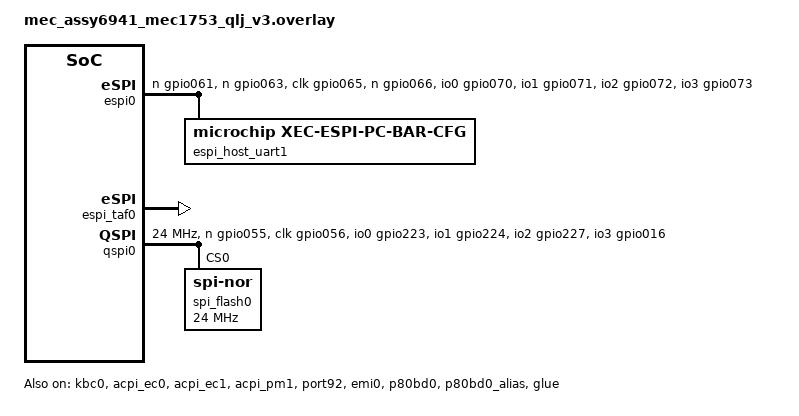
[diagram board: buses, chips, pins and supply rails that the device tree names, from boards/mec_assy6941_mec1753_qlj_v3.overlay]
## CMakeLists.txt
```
# SPDX-License-Identifier: Apache-2.0

cmake_minimum_required(VERSION 3.13.1)
find_package(Zephyr REQUIRED HINTS $ENV{ZEPHYR_BASE})
project(espi)

FILE(GLOB app_sources src/*.c)
target_sources(app PRIVATE ${app_sources})

#zephyr_compile_options(-Werror)
```

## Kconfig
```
# Private config options for eSPI sample app

# Copyright (c) 2019 Intel Corporation
# SPDX-License-Identifier: Apache-2.0

mainmenu "Enhanced Serial Peripheral Interface application"

config ESPI_DEV
	string "Name of the eSPI device"
	default "ESPI_0"
	help
	  Name of the eSPI device used for send an receive.

config ESPI_SAF_DEV
	string "Name of the eSPI SAF device"
	default "ESPI_SAF_0"
	help
	  Name of the eSPI SAF device used for slave attached flash access.

config ESPI_VIRTUAL_WIRE_TIMEOUT
	int "Timeout for virtual wires"
	default 5000
	help
	  Timeout for virtual wires

config ESPI_GPIO_DEV_NEEDED
	bool "GPIO required for minimum eSPI handshake"

if ESPI_GPIO_DEV_NEEDED

config ESPI_GPIO_DEV0
	string "Name of the GPIO port 0"
	default "GPIO_0"
	help
	  Name of the port used in minimal handshake

config ESPI_GPIO_DEV1
	string "Name of the GPIO port 1"
	default "GPIO_1"
	help
	  Name of the port used in minimal handshake

config ESPI_INIT_PIN
	int "eSPI master enable pin"
	default 0
	help
	  Pin number of eSPI master init pin

config PWRGD_PIN
	int "Indication espi master power is up"
	default 0
	help
	  Pin number of eSPI master power indication

endif # ESPI_GPIO_DEV_NEEDED

source "Kconfig.zephyr"
```

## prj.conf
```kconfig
CONFIG_ESPI=y
CONFIG_STDOUT_CONSOLE=y
CONFIG_UART_CONSOLE=y
#CONFIG_RTT_CONSOLE=y
#CONFIG_USE_SEGGER_RTT=y
CONFIG_PRINTK=y

# MCHP
# Enable Segger module (zephyr/modules/segger)
# can't set directly CONFIG_ZEPHYR_SEGGER_MODULE=y
# can't set directly CONFIG_HAS_SEGGER_RTT=y

# Enable logging and use Segger RTT as the backend
CONFIG_LOG=y
CONFIG_LOG_BACKEND_UART=n
#CONFIG_LOG_BACKEND_RTT=y
#CONFIG_LOG_BACKEND_RTT_MODE_BLOCK=y
#CONFIG_LOG_BACKEND_RTT_MESSAGE_SIZE=256
# USE_SEGGER_RTT

CONFIG_DEBUG=y
#CONFIG_TRACING=y
#CONFIG_TRACING_ASYNC=y
#CONFIG_SEGGER_SYSTEMVIEW=y
# the above selects USE_SEGGER_RTT
```

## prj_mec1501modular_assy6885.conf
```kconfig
# eSPI + mec1501modular_assy6885
CONFIG_ESPI=y
CONFIG_ESPI_SAF=y
CONFIG_ESPI_DEV="ESPI_0"
CONFIG_ESPI_DEV="ESPI_SAF_0"
CONFIG_ESPI_GPIO_DEV_NEEDED=y
CONFIG_ESPI_GPIO_DEV0="GPIO000_036"
CONFIG_ESPI_GPIO_DEV1="GPIO040_076"
CONFIG_SPI=y
CONFIG_SPI_XEC_QMSPI=y

# This is MCHP_GPIO_012
CONFIG_PWRGD_PIN=10

# This is MCHP_GPIO_0054
CONFIG_ESPI_INIT_PIN=12

CONFIG_LOG=y
CONFIG_LOG_BUFFER_SIZE=4096
CONFIG_LOG_PROCESS_THREAD_SLEEP_MS=100
# Disable only for this board to check notifications
CONFIG_ESPI_AUTOMATIC_WARNING_ACKNOWLEDGE=n
# Sample code doesn't handle ACPI host communication
CONFIG_ESPI_PERIPHERAL_HOST_IO=n
```

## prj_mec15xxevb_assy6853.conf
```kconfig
# eSPI + mec15xxevb_assy6853
CONFIG_ESPI=y
CONFIG_ESPI_SAF=y
CONFIG_ESPI_DEV="ESPI_0"
CONFIG_ESPI_SAF_DEV="ESPI_SAF_0"
CONFIG_ESPI_GPIO_DEV_NEEDED=y
CONFIG_ESPI_GPIO_DEV0="GPIO000_036"
CONFIG_ESPI_GPIO_DEV1="GPIO040_076"
CONFIG_SPI=y
CONFIG_SPI_XEC_QMSPI=y

# This is MCHP_GPIO_012
CONFIG_PWRGD_PIN=10

# This is MCHP_GPIO_0054
CONFIG_ESPI_INIT_PIN=12

CONFIG_LOG=y
```

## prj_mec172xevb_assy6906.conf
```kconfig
# eSPI + mec172xevb_assy6906
CONFIG_ESPI=y
CONFIG_LOG=y
CONFIG_LOG_BUFFER_SIZE=4096
CONFIG_LOG_PROCESS_THREAD_SLEEP_MS=100
# Disable only for this board to check notifications
CONFIG_ESPI_AUTOMATIC_WARNING_ACKNOWLEDGE=n
# Sample code doesn't handle ACPI host communication
CONFIG_ESPI_PERIPHERAL_HOST_IO=n
# Test SAF flash portal read/erase/write on EVB
CONFIG_ESPI_SAF_V2=y
CONFIG_SPI=y
CONFIG_SPI_XEC_QMSPI_LDMA=y
```

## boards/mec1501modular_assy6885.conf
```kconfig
CONFIG_LOG=y
CONFIG_LOG_BUFFER_SIZE=4096
CONFIG_LOG_PROCESS_THREAD_SLEEP_MS=100
# Disable only for this board to check notifications
CONFIG_ESPI_AUTOMATIC_WARNING_ACKNOWLEDGE=n
# Sample code doesn't handle ACPI host communication
CONFIG_ESPI_PERIPHERAL_HOST_IO=n
# This only makes sense for system using this board
CONFIG_ESPI_OOB_CHANNEL_RX_ASYNC=y
CONFIG_SPI=y
CONFIG_FLASH=y
CONFIG_FLASH_JESD216_API=y
```

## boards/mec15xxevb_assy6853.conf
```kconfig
CONFIG_LOG=y
CONFIG_LOG_BUFFER_SIZE=4096
CONFIG_LOG_PROCESS_THREAD_SLEEP_MS=100
# Disable only for this board to check notifications
CONFIG_ESPI_AUTOMATIC_WARNING_ACKNOWLEDGE=n
# Sample code doesn't handle ACPI host communication
CONFIG_ESPI_PERIPHERAL_HOST_IO=n
# Test TAF flash portal read/erase/write on EVB
CONFIG_ESPI_TAF=y
CONFIG_SPI=y
CONFIG_FLASH=y
CONFIG_FLASH_JESD216_API=y
```

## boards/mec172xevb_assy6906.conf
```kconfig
# eSPI + mec172xevb_assy6906
CONFIG_ESPI=y
CONFIG_LOG=y
CONFIG_LOG_BUFFER_SIZE=4096
CONFIG_LOG_PROCESS_THREAD_SLEEP_MS=100
# Disable only for this board to check notifications
CONFIG_ESPI_AUTOMATIC_WARNING_ACKNOWLEDGE=n
# Sample code doesn't handle ACPI host communication
CONFIG_ESPI_PERIPHERAL_HOST_IO=n
# Test TAF flash portal read/erase/write on EVB
CONFIG_ESPI_TAF=y
CONFIG_SPI=y
CONFIG_FLASH=y
CONFIG_FLASH_JESD216_API=y
```

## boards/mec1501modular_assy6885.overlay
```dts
/*
 * Copyright (c) 2020 Intel Corporation
 *
 * SPDX-License-Identifier: Apache-2.0
 */

/ {
	board_power: resources {
		compatible = "intel-rvp,board-power";
		/* MCHP_GPIO_012 */
		pwrg-gpios = <MCHP_GPIO_DECODE_012 GPIO_ACTIVE_HIGH>;
		/* MCHP_GPIO_0054 */
		rsm-gpios = <MCHP_GPIO_DECODE_054 GPIO_ACTIVE_HIGH>;
	};
};

&spi0 {
	status = "okay";
	port-sel = <0>;
	chip-select = <0>;
	lines = <4>;
	pinctrl-0 = <&shd_cs0_n_gpio055
		     &shd_clk_gpio056
		     &shd_io0_gpio223
		     &shd_io1_gpio224
		     &shd_io2_gpio227
		     &shd_io3_gpio016>;
	pinctrl-names = "default";

	spi_flash0: spi_flash@0 {
		compatible = "jedec,spi-nor";
		reg = <0>;
		spi-max-frequency = <DT_FREQ_M(24)>;
		jedec-id = [ef 40 18];
		size = <DT_SIZE_M(16)>;
		page-size = <256>;
	};
};
```

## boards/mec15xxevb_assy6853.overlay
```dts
/*
 * Copyright (c) 2020 Intel Corporation
 *
 * SPDX-License-Identifier: Apache-2.0
 */

/ {
	board_power: resources {
		compatible = "intel-rvp,board-power";
		/* MCHP_GPIO_012 */
		pwrg-gpios = <MCHP_GPIO_DECODE_012 GPIO_ACTIVE_HIGH>;
		/* MCHP_GPIO_0054 */
		rsm-gpios = <MCHP_GPIO_DECODE_054 GPIO_ACTIVE_HIGH>;
	};
};

&espi_saf0 {
	status = "okay";
};

&spi0 {
	status = "okay";
	port-sel = <0>;
	chip-select = <0>;
	lines = <4>;

	spi_flash0: spi_flash@0 {
		compatible = "jedec,spi-nor";
		reg = <0>;
		spi-max-frequency = <DT_FREQ_M(24)>;
		jedec-id = [ef 40 18];
		size = <DT_SIZE_M(16)>;
		page-size = <256>;
	};
};
```

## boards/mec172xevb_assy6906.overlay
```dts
/*
 * Copyright (c) 2020 Intel Corporation
 *
 * SPDX-License-Identifier: Apache-2.0
 */

/ {
	aliases {
		spi0 = &qspi0;
	};

	board_power: resources {
		compatible = "intel-rvp,board-power";
		/* MCHP_GPIO_012 */
		pwrg-gpios = <&gpio_000_036 10 GPIO_ACTIVE_HIGH>;
		/* MCHP_GPIO_0054 */
		rsm-gpios = <&gpio_040_076 12 GPIO_ACTIVE_HIGH>;
	};
};

&espi_saf0 {
	status = "okay";
};

/* Enable Target to Controller Virtual Wires GPIO 0 - 3 */
&vw_t2c_gpio_0 {
	status = "okay";
	reset-state = "1";
	reset-source = "ESPI_RESET";
};

&vw_t2c_gpio_1 {
	status = "okay";
	reset-state = "1";
	reset-source = "ESPI_RESET";
};

&vw_t2c_gpio_2 {
	status = "okay";
	reset-state = "1";
	reset-source = "ESPI_RESET";
};

&vw_t2c_gpio_3 {
	status = "okay";
	reset-state = "1";
	reset-source = "ESPI_RESET";
};

&qspi0 {
	status = "okay";
	clock-frequency = <24000000>;

	spi_flash0: spi_flash@0 {
		compatible = "jedec,spi-nor";
		reg = <0>;
		spi-max-frequency = <DT_FREQ_M(24)>;
		jedec-id = [ef 40 18];
		size = <DT_SIZE_M(16)>;
		page-size = <256>;
	};
};
```

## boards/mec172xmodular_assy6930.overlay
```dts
/*
 * Copyright (c) 2020 Intel Corporation
 *
 * SPDX-License-Identifier: Apache-2.0
 */

/ {
	aliases {
		spi0 = &qspi0;
	};

	board_power: resources {
		compatible = "intel-rvp,board-power";
		/* MCHP_GPIO_012 */
		pwrg-gpios = <&gpio_000_036 10 GPIO_ACTIVE_HIGH>;
		/* MCHP_GPIO_0054 */
		rsm-gpios = <&gpio_040_076 12 GPIO_ACTIVE_HIGH>;
	};
};

&espi_taf0 {
	status = "okay";
};

/* Enable Target to Controller Virtual Wires GPIO 0 - 3 */
&vw_t2c_gpio_0 {
	status = "okay";
	reset-state = "1";
	reset-source = "ESPI_RESET";
};

&vw_t2c_gpio_1 {
	status = "okay";
	reset-state = "1";
	reset-source = "ESPI_RESET";
};

&vw_t2c_gpio_2 {
	status = "okay";
	reset-state = "1";
	reset-source = "ESPI_RESET";
};

&vw_t2c_gpio_3 {
	status = "okay";
	reset-state = "1";
	reset-source = "ESPI_RESET";
};

&qspi0 {
	status = "okay";
	clock-frequency = <24000000>;

	spi_flash0: spi_flash@0 {
		compatible = "jedec,spi-nor";
		reg = <0>;
		spi-max-frequency = <DT_FREQ_M(24)>;
		jedec-id = [ef 40 18];
		size = <DT_SIZE_M(16)>;
		page-size = <256>;
	};
};

/* Disable unwanted VWs notifications
 * Refer to include/zephyr/drivers/espi.h
 */
&vw_sus_stat_n {
	status = "disabled";
};

&vw_smiout_n {
	status = "disabled";
};

&vw_nmiout_n {
	status = "disabled";
};

&vw_slp_lan_n {
	status = "disabled";
};

&vw_slp_wlan_n {
	status = "disabled";
};

&vw_host_c10 {
	status = "disabled";
};
```

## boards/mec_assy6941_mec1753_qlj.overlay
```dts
/*
 * Copyright (c) 2026 Microchip Technology Inc.
 *
 * SPDX-License-Identifier: Apache-2.0
 */

/ {
	aliases {
		spi0 = &qspi0;
	};

	board_power: resources {
		compatible = "intel-rvp,board-power";
		pwrg-gpios = <MCHP_GPIO_DECODE_012 GPIO_ACTIVE_HIGH>;
		rsm-gpios = <MCHP_GPIO_DECODE_054 GPIO_ACTIVE_HIGH>;
	};
};

&espi0 {
	compatible = "microchip,xec-espi-v2";
	pinctrl-0 = <&espi_reset_n_gpio061 &espi_alert_n_gpio063
		     &espi_clk_gpio065 &espi_cs_n_gpio066
		     &espi_io0_gpio070 &espi_io1_gpio071
		     &espi_io2_gpio072 &espi_io3_gpio073>;
	pinctrl-names = "default";
	status = "okay";
};

&espi_taf0 {
	compatible = "microchip,xec-espi-saf-v2";
	status = "okay";
};

/* eSPI peripheral channel child devices */
&kbc0 {
	status = "okay";
};

&acpi_ec0 {
	status = "okay";
};

&acpi_ec1 {
	status = "okay";
};

&emi0 {
	status = "okay";
};

&p80bd0 {
	status = "okay";
};

/* Enable Target to Controller Virtual Wires GPIO 0 - 3 */
&vw_t2c_gpio_0 {
	status = "okay";
	reset-state = "1";
	reset-source = "ESPI_RESET";
};

&vw_t2c_gpio_1 {
	status = "okay";
	reset-state = "1";
	reset-source = "ESPI_RESET";
};

&vw_t2c_gpio_2 {
	status = "okay";
	reset-state = "1";
	reset-source = "ESPI_RESET";
};

&vw_t2c_gpio_3 {
	status = "okay";
	reset-state = "1";
	reset-source = "ESPI_RESET";
};

&qspi0 {
	compatible = "microchip,xec-qmspi-ldma";
	status = "okay";
	clock-frequency = <24000000>;
	pinctrl-0 = <&qspi_shd_cs0_n_gpio055 &qspi_shd_clk_gpio056
		     &qspi_shd_io0_gpio223 &qspi_shd_io1_gpio224
		     &qspi_shd_io2_gpio227 &qspi_shd_io3_gpio016>;
	pinctrl-names = "default";

	spi_flash0: spi_flash@0 {
		compatible = "jedec,spi-nor";
		reg = <0>;
		spi-max-frequency = <DT_FREQ_M(24)>;
		/*jedec-id = [ef 60 18];  W25Q128-FW 1.8V part */
		jedec-id = [c8 67 19]; /*  GD25LR256 1.8V part */
		/*jedec-id = [c8 60 1a];  GD25LR512 1.8V part */
		size = <DT_SIZE_M(32)>;
		page-size = <256>;
		use-fast-read;
		quad-enable-requirements = "S2B1v4";
	};
};
```

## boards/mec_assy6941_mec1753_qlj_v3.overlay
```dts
/*
 * Copyright (c) 2026 Microchip Technology Inc.
 * SPDX-FileCopyrightText: Copyright The Zephyr Project Contributors
 *
 * SPDX-License-Identifier: Apache-2.0
 */

/*
 * eSPI V3 variant of mec_assy6941_mec1753_qlj.overlay.
 *
 * This overlay replaces the board overlay rather than adding to it, so build
 * with DTC_OVERLAY_FILE pointing at it:
 *
 *   west build -p always -b mec_assy6941/mec1753_qlj zephyr/samples/drivers/espi \
 *     -DDTC_OVERLAY_FILE=boards/mec_assy6941_mec1753_qlj_v3.overlay
 *
 * The difference from the V2 overlay is that each peripheral (logical) channel
 * device binds to its own driver, and the Host I/O BAR, Host memory BAR and
 * Serial-IRQ slot values that the V2 build takes from CONFIG_ESPI_PERIPHERAL_*
 * Kconfig defaults are described here instead. The eSPI controller reads them
 * from these nodes and owns the registers, because MEC hardware holds the BAR
 * and Serial-IRQ registers in reset while eSPI Reset or PLTRST is asserted.
 */

#include <zephyr/dt-bindings/espi/mchp-xec-espi-v3.h>

/ {
	aliases {
		spi0 = &qspi0;
	};

	board_power: resources {
		compatible = "intel-rvp,board-power";
		pwrg-gpios = <MCHP_GPIO_DECODE_012 GPIO_ACTIVE_HIGH>;
		rsm-gpios = <MCHP_GPIO_DECODE_054 GPIO_ACTIVE_HIGH>;
	};
};

&espi0 {
	compatible = "microchip,xec-espi-v3";
	pinctrl-0 = <&espi_reset_n_gpio061 &espi_alert_n_gpio063
		     &espi_clk_gpio065 &espi_cs_n_gpio066
		     &espi_io0_gpio070 &espi_io1_gpio071
		     &espi_io2_gpio072 &espi_io3_gpio073>;
	pinctrl-names = "default";
	status = "okay";

	/* The Host reaches one of the EC UARTs as a legacy serial port. The UART
	 * block itself stays owned by drivers/serial, so this node exists only to
	 * name the Host I/O decoder and Serial IRQ slot for the controller to
	 * program. It replaces CONFIG_ESPI_PERIPHERAL_UART_SOC_MAPPING: enabling
	 * the node for a different UART is what picks the SoC port, rather than a
	 * Kconfig integer the device tree cannot see.
	 *
	 * The address and slot are the ones the V2 build programs by default. A
	 * board presenting this as COM1 uses 0x3f8 and Host IRQ 4.
	 */
	espi_host_uart1: host-uart1 {
		compatible = "microchip,xec-espi-pc-bar-cfg";
		ldn = <10>;
		io-bars = <MCHP_XEC_ESPI_IOB_UART1 0x3f0>;
		sirqs = <MCHP_XEC_ESPI_SIRQ_UART1 4>;
		status = "okay";
	};
};

&espi_taf0 {
	compatible = "microchip,xec-espi-saf-v2";
	status = "okay";
};

/* eSPI peripheral channel logical devices. Each one binds to its own driver.
 * io-bars and mem-bars entries are <register-index host-address> pairs, sirqs
 * entries are <register-index slot> pairs.
 */
/* Both mailbox Serial-IRQs start disabled, which is what the V2 build gets from
 * the CONFIG_ESPI_PERIPHERAL_XEC_MAILBOX_*_SIRQ_SLOT defaults. A board that
 * assigns real slots here is also what lets an application turn them on at run
 * time through mchp_xec_espi_pc_mailbox_ictrl().
 */
&mbox0 {
	compatible = "microchip,xec-espi-pc-mbox";
	io-bars = <MCHP_XEC_ESPI_IOB_MBOX 0x360>;
	sirqs = <MCHP_XEC_ESPI_SIRQ_MBOX MCHP_XEC_ESPI_SIRQ_SLOT_DISABLED>,
		<MCHP_XEC_ESPI_SIRQ_MBOX_SMI MCHP_XEC_ESPI_SIRQ_SLOT_DISABLED>;
	status = "okay";
};

&kbc0 {
	compatible = "microchip,xec-espi-pc-kbc";
	io-bars = <MCHP_XEC_ESPI_IOB_KBC 0x60>;
	sirqs = <MCHP_XEC_ESPI_SIRQ_KBC_KIRQ 1>,
		<MCHP_XEC_ESPI_SIRQ_KBC_MIRQ 12>;
	status = "okay";
};

/* The shared memory region is driver owned SoC data memory that the ACPI EC
 * driver reports to the application through EACPI_GET_SHARED_MEMORY. No mem-bars
 * pair is given, which matches what the V2 build programs: the region is not
 * decoded into Host memory space on this board. A board that wants the Host to
 * read it directly adds a <MCHP_XEC_ESPI_MEMB_ACPI_EC0 host-address> pair here.
 */
&acpi_ec0 {
	compatible = "microchip,xec-espi-pc-acpi-ec";
	peripheral-type = "host-io";
	shared-memory-size = <256>;
	io-bars = <MCHP_XEC_ESPI_IOB_ACPI_EC0 0x62>;
	sirqs = <MCHP_XEC_ESPI_SIRQ_ACPI_EC0_OBF MCHP_XEC_ESPI_SIRQ_SLOT_DISABLED>;
	status = "okay";
};

&acpi_ec1 {
	compatible = "microchip,xec-espi-pc-acpi-ec";
	peripheral-type = "host-io-pvt";
	io-bars = <MCHP_XEC_ESPI_IOB_ACPI_EC1 0x200>;
	sirqs = <MCHP_XEC_ESPI_SIRQ_ACPI_EC1_OBF MCHP_XEC_ESPI_SIRQ_SLOT_DISABLED>;
	status = "okay";
};

&acpi_pm1 {
	compatible = "microchip,xec-espi-pc-acpi-pm1";
	io-bars = <MCHP_XEC_ESPI_IOB_ACPI_PM1 0x1800>;
	status = "okay";
};

&port92 {
	compatible = "microchip,xec-espi-pc-port92";
	io-bars = <MCHP_XEC_ESPI_IOB_PORT92 0x92>;
	status = "okay";
};

&emi0 {
	compatible = "microchip,xec-espi-pc-emi";
	io-bars = <MCHP_XEC_ESPI_IOB_EMI0 0x800>;
	status = "okay";
};

/* The Port80 block decodes two Host I/O ranges into one capture FIFO. The
 * second range is a node of its own so the controller programs its BAR like any
 * other, and the phandle is what lets the Port80 driver arm it. The byte lane
 * the alias address maps to comes from host-io-addr-mask in mec5.dtsi.
 */
&p80bd0 {
	compatible = "microchip,xec-espi-pc-p80bd";
	io-bars = <MCHP_XEC_ESPI_IOB_P80BD 0x80>;
	alias-decoder = <&p80bd0_alias>;
	status = "okay";
};

&p80bd0_alias {
	compatible = "microchip,xec-espi-pc-bar-cfg";
	/* The V2 host-io property is replaced by an io-bars pair, which also
	 * names the BAR register the address goes in.
	 */
	/delete-property/ host-io;
	io-bars = <MCHP_XEC_ESPI_IOB_P80BD_ALIAS 0x90>;
	status = "okay";
};

/* The glue logic block derives the power good signal the Host chipset sees. How
 * the SLP_S0# and CPU_C10 inputs are wired is a board question, so this node is
 * left at the hardware defaults: S0ix detection off, which makes VCC_PWRGD2
 * follow the VCC_PWRGD pin exactly as it does on a build without the block
 * enabled. A board that routes those inputs sets s0ix-detect-source and the
 * matching polarity and source properties here.
 *
 * No io-bars pair is given. The one Host visible register in the block is the
 * S0ix detection enable, and nothing on this board needs BIOS to reach it.
 */
&glue {
	compatible = "microchip,xec-espi-pc-glue";
	status = "okay";
};

/* Enable Target to Controller Virtual Wires GPIO 0 - 3 */
&vw_t2c_gpio_0 {
	status = "okay";
	reset-state = "1";
	reset-source = "ESPI_RESET";
};

&vw_t2c_gpio_1 {
	status = "okay";
	reset-state = "1";
	reset-source = "ESPI_RESET";
};

&vw_t2c_gpio_2 {
	status = "okay";
	reset-state = "1";
	reset-source = "ESPI_RESET";
};

&vw_t2c_gpio_3 {
	status = "okay";
	reset-state = "1";
	reset-source = "ESPI_RESET";
};

&qspi0 {
	compatible = "microchip,xec-qmspi-ldma";
	status = "okay";
	clock-frequency = <24000000>;
	pinctrl-0 = <&qspi_shd_cs0_n_gpio055 &qspi_shd_clk_gpio056
		     &qspi_shd_io0_gpio223 &qspi_shd_io1_gpio224
		     &qspi_shd_io2_gpio227 &qspi_shd_io3_gpio016>;
	pinctrl-names = "default";

	spi_flash0: spi_flash@0 {
		compatible = "jedec,spi-nor";
		reg = <0>;
		spi-max-frequency = <DT_FREQ_M(24)>;
		jedec-id = [ef 60 18]; /* W25Q128-FW 1.8V part */
		size = <DT_SIZE_M(16)>;
		page-size = <256>;
		use-fast-read;
		quad-enable-requirements = "S2B1v4";
	};
};
```

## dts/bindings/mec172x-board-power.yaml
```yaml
# Copyright (c) 2020, Microchip Technology Inc.
# SPDX-License-Identifier: Apache-2.0

compatible: "microchip,mec172x-board-power"

description: |
    This binding provides MEC172x board gpio power rails resources to
    build and run samples/drives/espi in Zephyr.
    GPIOs required before performing a eSPI host-slave handshake

properties:
   pwrg-gpios:
        type: phandle-array
        required: true
        description: |
          Board GPIO input used to detect that power rails are stable.

   rsm-gpios:
        type: phandle-array
        required: true
        description: |
          Board GPIO output used to notify eSPI master to ackwnowledge
          power has stabilized and bare minimum initialization in eSPI slave
          is complete so eSPI master can proceed with eSPI handshake.
```

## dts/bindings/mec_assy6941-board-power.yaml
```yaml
# Copyright (c) 2026, Microchip Technology Inc.
# SPDX-License-Identifier: Apache-2.0

compatible: "microchip,mec_assy6941-board-power"

description: |
    This binding provides MEC172x board gpio power rails resources to
    build and run samples/drives/espi in Zephyr.
    GPIOs required before performing a eSPI host-slave handshake

properties:
  pwrg-gpios:
    type: phandle-array
    required: true
    description: |
      Board GPIO input used to detect that power rails are stable.

  rsm-gpios:
    type: phandle-array
    required: true
    description: |
      Board GPIO output used to notify eSPI master to ackwnowledge
      power has stabilized and bare minimum initialization in eSPI slave
      is complete so eSPI master can proceed with eSPI handshake.
```

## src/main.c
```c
/*
 * Copyright (c) 2019 Intel Corporation
 *
 * SPDX-License-Identifier: Apache-2.0
 */

#include <errno.h>
#include <zephyr/kernel.h>
#include <zephyr/device.h>
#include <soc.h>
#include <zephyr/drivers/gpio.h>
#include <zephyr/drivers/espi.h>
#include <zephyr/drivers/spi.h>
#include <zephyr/logging/log_ctrl.h>
#include <zephyr/logging/log.h>
#include "espi_oob_handler.h"

#ifdef CONFIG_ESPI_FLASH_CHANNEL
#include "espi_flash_caf_sample.h"
#endif

#ifdef CONFIG_ESPI_TAF
#include "espi_taf_sample.h"
#endif

LOG_MODULE_DECLARE(espi, CONFIG_ESPI_LOG_LEVEL);

#define ESPI_FREQ_20MHZ 20u
#define ESPI_FREQ_25MHZ 25u
#define ESPI_FREQ_66MHZ 66u

#define K_WAIT_DELAY 100u

/* eSPI event */
#define EVENT_MASK         0x0000FFFFu
#define EVENT_DETAILS_MASK 0xFFFF0000u
#define EVENT_DETAILS_POS  16u
#define EVENT_TYPE(x)      (x & EVENT_MASK)
#define EVENT_DETAILS(x)   ((x & EVENT_DETAILS_MASK) >> EVENT_DETAILS_POS)

#define PWR_SEQ_TIMEOUT 3000u

/* The devicetree node identifier for the board power rails pins. */
#define BRD_PWR_NODE DT_NODELABEL(board_power)

#ifdef CONFIG_ESPI_TAF_XEC_V2
#define ESPI_TAF_FLASH_CTRL_NODE DT_NODELABEL(qspi0)
#define ESPI_TAF_NODE            DT_NODELABEL(espi_taf0)
#else
#define ESPI_TAF_FLASH_CTRL_NODE DT_NODELABEL(spi0)
#define ESPI_TAF_NODE            DT_NODELABEL(espi_saf0)
#endif

#if 0
#ifdef CONFIG_ESPI_USE_BOARD_POWER
static const struct gpio_dt_spec pwrgd_gpio = GPIO_DT_SPEC_GET(BRD_PWR_NODE, pwrg_gpios);
static const struct gpio_dt_spec rsm_gpio = GPIO_DT_SPEC_GET(BRD_PWR_NODE, rsm_gpios);
#endif
#endif

static const struct device *const espi_dev = DEVICE_DT_GET(DT_NODELABEL(espi0));
static struct espi_callback espi_bus_cb;
static struct espi_callback vw_rdy_cb;
static struct espi_callback vw_cb;
static struct espi_callback p80_cb;
static uint8_t espi_rst_sts;
#ifdef CONFIG_ESPI_OOB_CHANNEL_RX_ASYNC
static struct espi_callback oob_cb;
#endif

static void host_warn_handler(uint32_t signal, uint32_t status)
{
	switch (signal) {
	case ESPI_VWIRE_SIGNAL_HOST_RST_WARN:
		LOG_INF("Host reset warning %d", status);
		if (!IS_ENABLED(CONFIG_ESPI_AUTOMATIC_WARNING_ACKNOWLEDGE)) {
			LOG_INF("HOST RST ACK %d", status);
			espi_send_vwire(espi_dev, ESPI_VWIRE_SIGNAL_HOST_RST_ACK, status);
		}
		break;
	case ESPI_VWIRE_SIGNAL_SUS_WARN:
		LOG_INF("Host suspend warning %d", status);
		if (!IS_ENABLED(CONFIG_ESPI_AUTOMATIC_WARNING_ACKNOWLEDGE)) {
			LOG_INF("SUS ACK %d", status);
			espi_send_vwire(espi_dev, ESPI_VWIRE_SIGNAL_SUS_ACK, status);
		}
		break;
	default:
		break;
	}
}

/* eSPI bus event handler */
static void espi_reset_handler(const struct device *dev, struct espi_callback *cb,
			       struct espi_event event)
{
	if (event.evt_type == ESPI_BUS_RESET) {
		espi_rst_sts = event.evt_data;
		LOG_INF("eSPI BUS reset %d", event.evt_data);

		/* Re-enable interrupts after eSPI reset event */
		if (espi_rst_sts) {
			espi_interrupt_config(espi_dev, ESPI_INT_ALL_MASK, 0);
		}
	}
}

/* eSPI logical channels enable/disable event handler */
static void espi_ch_handler(const struct device *dev, struct espi_callback *cb,
			    struct espi_event event)
{
	if (event.evt_type == ESPI_BUS_EVENT_CHANNEL_READY) {
		switch (event.evt_details) {
		case ESPI_CHANNEL_VWIRE:
			LOG_INF("VW channel event %x", event.evt_data);
			break;
		case ESPI_CHANNEL_FLASH:
			LOG_INF("Flash channel event %d", event.evt_data);
			break;
		case ESPI_CHANNEL_OOB:
			LOG_INF("OOB channel event %d", event.evt_data);
			break;
		default:
			LOG_ERR("Unknown channel event");
		}
	}
}

/* eSPI vwire received event handler */
static void vwire_handler(const struct device *dev, struct espi_callback *cb,
			  struct espi_event event)
{
	if (event.evt_type == ESPI_BUS_EVENT_VWIRE_RECEIVED) {
		switch (event.evt_details) {
		case ESPI_VWIRE_SIGNAL_PLTRST:
			LOG_INF("PLT_RST changed %d", event.evt_data);
			break;
		case ESPI_VWIRE_SIGNAL_SLP_S3:
		case ESPI_VWIRE_SIGNAL_SLP_S4:
		case ESPI_VWIRE_SIGNAL_SLP_S5:
			LOG_INF("SLP signal changed %d", event.evt_data);
			break;
		case ESPI_VWIRE_SIGNAL_SUS_WARN:
		case ESPI_VWIRE_SIGNAL_HOST_RST_WARN:
			host_warn_handler(event.evt_details, event.evt_data);
			break;
		}
	}
}

/* eSPI peripheral channel notifications handler */
static void periph_handler(const struct device *dev, struct espi_callback *cb,
			   struct espi_event event)
{
	uint8_t periph_type;
	uint8_t periph_index;

	periph_type = EVENT_TYPE(event.evt_details);
	periph_index = EVENT_DETAILS(event.evt_details);

	switch (periph_type) {
	case ESPI_PERIPHERAL_DEBUG_PORT80:
		LOG_INF("Postcode %x", event.evt_data);
		break;
	case ESPI_PERIPHERAL_HOST_IO:
		LOG_INF("ACPI %x", event.evt_data);
		espi_remove_callback(espi_dev, &p80_cb);
		break;
	default:
		LOG_INF("%s periph 0x%x [%x]", __func__, periph_type, event.evt_data);
	}
}

int espi_init(void)
{
	int ret;
	/* Indicate to eSPI controller (host) simplest configuration: Single line,
	 * 20MHz frequency and only logical channel 0 and 1 are supported
	 */
	struct espi_cfg cfg = {
		.io_caps = ESPI_IO_MODE_SINGLE_LINE,
		.channel_caps = ESPI_CHANNEL_VWIRE | ESPI_CHANNEL_PERIPHERAL,
		.max_freq = ESPI_FREQ_20MHZ,
	};

	/* If eSPI driver supports additional capabilities use them */
#ifdef CONFIG_ESPI_OOB_CHANNEL
	cfg.channel_caps |= ESPI_CHANNEL_OOB;
#endif
#ifdef CONFIG_ESPI_FLASH_CHANNEL
	cfg.channel_caps |= ESPI_CHANNEL_FLASH;
	cfg.io_caps |= ESPI_IO_MODE_QUAD_LINES;
	cfg.max_freq = ESPI_FREQ_25MHZ;
#endif

	ret = espi_config(espi_dev, &cfg);
	if (ret) {
		LOG_ERR("Failed to configure eSPI target channels:%x err: %d", cfg.channel_caps,
			ret);
		return ret;
	} else {
		LOG_INF("eSPI target configured successfully!");
	}

	LOG_INF("eSPI test - callbacks initialization... ");
	espi_init_callback(&espi_bus_cb, espi_reset_handler, ESPI_BUS_RESET);
	espi_init_callback(&vw_rdy_cb, espi_ch_handler, ESPI_BUS_EVENT_CHANNEL_READY);
	espi_init_callback(&vw_cb, vwire_handler, ESPI_BUS_EVENT_VWIRE_RECEIVED);
	espi_init_callback(&p80_cb, periph_handler, ESPI_BUS_PERIPHERAL_NOTIFICATION);
#ifdef CONFIG_ESPI_OOB_CHANNEL_RX_ASYNC
	espi_init_callback(&oob_cb, oob_rx_handler, ESPI_BUS_EVENT_OOB_RECEIVED);
#endif
	LOG_INF("complete");

	LOG_INF("eSPI test - callbacks registration... ");
	espi_add_callback(espi_dev, &espi_bus_cb);
	espi_add_callback(espi_dev, &vw_rdy_cb);
	espi_add_callback(espi_dev, &vw_cb);
	espi_add_callback(espi_dev, &p80_cb);
#ifdef CONFIG_ESPI_OOB_CHANNEL_RX_ASYNC
	espi_add_callback(espi_dev, &oob_cb);
#endif

	espi_interrupt_config(espi_dev, ESPI_INT_BUS_ONLY_MASK, 0);
	LOG_INF("complete");

	return ret;
}

#if 0
#ifdef CONFIG_ESPI_USE_BOARD_POWER
static int wait_for_pin(const struct gpio_dt_spec *gpio, uint16_t timeout, int exp_level)
{
	uint16_t loop_cnt = timeout;
	int level;

	do {
		level = gpio_pin_get_dt(gpio);
		if (level < 0) {
			LOG_ERR("Failed to read %x %d", gpio->pin, level);
			return -EIO;
		}

		if (exp_level == level) {
			LOG_DBG("PIN %x = %x", gpio->pin, exp_level);
			break;
		}

		k_usleep(K_WAIT_DELAY);
		loop_cnt--;
	} while (loop_cnt > 0);

	if (loop_cnt == 0) {
		LOG_ERR("Timeout for %x %x", gpio->pin, level);
		return -ETIMEDOUT;
	}

	return 0;
}
#endif
#endif

static int wait_for_vwire(const struct device *espi_dev, enum espi_vwire_signal signal,
			  uint16_t timeout, uint8_t exp_level)
{
	int ret;
	uint8_t level;
	uint16_t loop_cnt = timeout;

	do {
		ret = espi_receive_vwire(espi_dev, signal, &level);
		if (ret) {
			LOG_ERR("Failed to read %x %d", signal, ret);
			return -EIO;
		}

		if (exp_level == level) {
			break;
		}

		k_usleep(K_WAIT_DELAY);
		loop_cnt--;
	} while (loop_cnt > 0);

	if (loop_cnt == 0) {
		LOG_ERR("VWIRE %d is %x", signal, level);
		return -ETIMEDOUT;
	}

	return 0;
}
#if 0
static int wait_for_espi_reset(uint8_t exp_sts)
{
	uint16_t loop_cnt = CONFIG_ESPI_VIRTUAL_WIRE_TIMEOUT;

	do {
		if (exp_sts == espi_rst_sts) {
			break;
		}
		k_usleep(K_WAIT_DELAY);
		loop_cnt--;
	} while (loop_cnt > 0);

	if (loop_cnt == 0) {
		return -ETIMEDOUT;
	}

	return 0;
}
#endif
int espi_handshake(void)
{
	int ret;

	LOG_INF("eSPI test - Handshake with eSPI controller (host)...");
	ret = wait_for_vwire(espi_dev, ESPI_VWIRE_SIGNAL_SUS_WARN, CONFIG_ESPI_VIRTUAL_WIRE_TIMEOUT,
			     1);
	if (ret) {
		LOG_ERR("SUS_WARN Timeout");
		return ret;
	}

	LOG_INF("1st phase completed");
	ret = wait_for_vwire(espi_dev, ESPI_VWIRE_SIGNAL_SLP_S5, CONFIG_ESPI_VIRTUAL_WIRE_TIMEOUT,
			     1);
	if (ret) {
		LOG_ERR("SLP_S5 Timeout");
		return ret;
	}

	ret = wait_for_vwire(espi_dev, ESPI_VWIRE_SIGNAL_SLP_S4, CONFIG_ESPI_VIRTUAL_WIRE_TIMEOUT,
			     1);
	if (ret) {
		LOG_ERR("SLP_S4 Timeout");
		return ret;
	}

	ret = wait_for_vwire(espi_dev, ESPI_VWIRE_SIGNAL_SLP_S3, CONFIG_ESPI_VIRTUAL_WIRE_TIMEOUT,
			     1);
	if (ret) {
		LOG_ERR("SLP_S3 Timeout");
		return ret;
	}

	LOG_INF("2nd phase completed");

	ret = wait_for_vwire(espi_dev, ESPI_VWIRE_SIGNAL_PLTRST, CONFIG_ESPI_VIRTUAL_WIRE_TIMEOUT,
			     1);
	if (ret) {
		LOG_ERR("PLT_RST Timeout");
		return ret;
	}

	LOG_INF("3rd phase completed");

	return 0;
}

#if 0
#ifndef CONFIG_ESPI_AUTOMATIC_WARNING_ACKNOWLEDGE
static void send_target_bootdone(void)
{
	int ret;
	uint8_t boot_done;

	ret = espi_receive_vwire(espi_dev, ESPI_VWIRE_SIGNAL_TARGET_BOOT_DONE, &boot_done);
	LOG_INF("%s boot_done: %d", __func__, boot_done);
	if (ret) {
		LOG_WRN("Fail to retrieve target boot done");
	} else if (!boot_done) {
		/* TARGET_BOOT_DONE & TARGET_LOAD_STS have to be sent together */
		espi_send_vwire(espi_dev, ESPI_VWIRE_SIGNAL_TARGET_BOOT_STS, 1);
		espi_send_vwire(espi_dev, ESPI_VWIRE_SIGNAL_TARGET_BOOT_DONE, 1);
	}
}
#endif
#endif

int espi_test(void)
{
	int ret;

	/* Account for the time serial port is detected so log messages can
	 * be seen
	 */
	k_sleep(K_SECONDS(1));
#if 0
#ifdef CONFIG_ESPI_USE_BOARD_POWER
	if (!gpio_is_ready_dt(&pwrgd_gpio)) {
		LOG_ERR("%s: device not ready.", pwrgd_gpio.port->name);
		return -ENODEV;
	}
	if (!gpio_is_ready_dt(&rsm_gpio)) {
		LOG_ERR("%s: device not ready.", rsm_gpio.port->name);
		return -ENODEV;
	}
#endif
#endif
	if (!device_is_ready(espi_dev)) {
		LOG_ERR("%s: device not ready.", espi_dev->name);
		return -ENODEV;
	}

#ifdef CONFIG_ESPI_TAF
	const struct device *const qspi_dev = DEVICE_DT_GET(ESPI_TAF_FLASH_CTRL_NODE);
	const struct device *const espi_saf_dev = DEVICE_DT_GET(ESPI_TAF_NODE);

	if (!device_is_ready(qspi_dev)) {
		LOG_ERR("%s: device not ready.", qspi_dev->name);
		return -ENODEV;
	}

	if (!device_is_ready(espi_saf_dev)) {
		LOG_ERR("%s: device not ready.", espi_saf_dev->name);
		return -ENODEV;
	}
#endif

	LOG_INF("Hello eSPI test %s", CONFIG_BOARD);
#if 0
#ifdef CONFIG_ESPI_USE_BOARD_POWER
	ret = gpio_pin_configure_dt(&pwrgd_gpio, GPIO_INPUT);
	if (ret) {
		LOG_ERR("Unable to configure %d:%d", pwrgd_gpio.pin, ret);
		return ret;
	}

	ret = gpio_pin_configure_dt(&rsm_gpio, GPIO_OUTPUT);
	if (ret) {
		LOG_ERR("Unable to config %d: %d", rsm_gpio.pin, ret);
		return ret;
	}

	ret = gpio_pin_set_dt(&rsm_gpio, 0);
	if (ret) {
		LOG_ERR("Unable to initialize %d", rsm_gpio.pin);
		return -1;
	}
#endif
#endif

	espi_init();

#ifdef CONFIG_ESPI_TAF
	/*
	 * eSPI SAF configuration must be after eSPI configuration.
	 * eSPI SAF EC portal flash tests before EC releases RSMRST# and
	 * Host de-asserts ESPI_RESET#.
	 */
	ret = spi_saf_init();
	if (ret) {
		LOG_ERR("Unable to configure %d:%s", ret, qspi_dev->name);
		return ret;
	}

	ret = espi_saf_init();
	if (ret) {
		LOG_ERR("Unable to configure %d:%s", ret, espi_saf_dev->name);
		return ret;
	}

	//ret = espi_saf_test1(SAF_SPI_TEST_ADDRESS);
	//ret = espi_saf_test1(0x1500000);
	ret = espi_saf_test1(0x00000);
	if (ret) {
		LOG_INF("eSPI SAF test1 returned error %d", ret);
	}
#endif
#if 0
#ifdef CONFIG_ESPI_USE_BOARD_POWER
	ret = wait_for_pin(&pwrgd_gpio, PWR_SEQ_TIMEOUT, 1);
	if (ret) {
		LOG_ERR("RSMRST_PWRGD timeout");
		return ret;
	}

	ret = gpio_pin_set_dt(&rsm_gpio, 1);
	if (ret) {
		LOG_ERR("Failed to set rsm err: %d", ret);
		return ret;
	}
#endif
	ret = wait_for_espi_reset(1);
	if (ret) {
		LOG_INF("ESPI_RESET timeout");
		return ret;
	}

#ifndef CONFIG_ESPI_AUTOMATIC_WARNING_ACKNOWLEDGE
	/* When automatic acknowledge is disabled to perform lengthy operations
	 * in the eSPI target, need to explicitly send target boot virtual wires
	 */
	bool vw_ch_sts;

	/* Simulate lengthy operation during boot */
	k_sleep(K_SECONDS(2));

	do {
		vw_ch_sts = espi_get_channel_status(espi_dev, ESPI_CHANNEL_VWIRE);
		k_busy_wait(100);
	} while (!vw_ch_sts);

	send_target_bootdone();
#endif

#ifdef CONFIG_ESPI_FLASH_CHANNEL
	/* Flash operation need to be perform before VW handshake or
	 * after eSPI host completes full initialization.
	 * This sample code can't assume a full initialized eSPI host
	 * so flash operations are perform here.
	 */
	bool flash_sts;

	do {
		flash_sts = espi_get_channel_status(espi_dev, ESPI_CHANNEL_FLASH);
		k_busy_wait(100);
	} while (!flash_sts);

	/* eSPI flash test can fail and rest of operation can continue */
	ret = espi_flash_test(TARGET_FLASH_REGION, 1);
	if (ret) {
		LOG_INF("eSPI flash test failed %d", ret);
	}
#endif

	/* Showcase VW channel by exchanging virtual wires with eSPI host */
	ret = espi_handshake();
	if (ret) {
		LOG_ERR("eSPI VW handshake failed %d", ret);
		return ret;
	}

	/*  Attempt to use OOB channel to read temperature, regardless of
	 * if is enabled or not.
	 */
#ifndef CONFIG_ESPI_OOB_CHANNEL_RX_ASYNC
	/* System without host-initiated OOB Rx traffic */
	get_pch_temp_sync(espi_dev);
#else
	/* System with host-initiated OOB Rx traffic */
	get_pch_temp_async(espi_dev);
#endif

	/* Cleanup */
	k_sleep(K_SECONDS(1));
	espi_remove_callback(espi_dev, &espi_bus_cb);
	espi_remove_callback(espi_dev, &vw_rdy_cb);
	espi_remove_callback(espi_dev, &vw_cb);
#endif
	LOG_INF("eSPI sample completed err: %d", ret);

	return ret;
}

int main(void)
{
	espi_test();
	return 0;
}
```

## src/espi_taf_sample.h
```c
/*
 * Copyright (c) 2019 Microchip Technology Inc.
 *
 * SPDX-License-Identifier: Apache-2.0
 */

#ifndef __ESPI_TAF_SAMPLE_H__
#define __ESPI_TAF_SAMPLE_H__

/* SAF Base Address */
#ifdef CONFIG_ESPI_TAF_XEC_V2
#define SAF_BASE_ADDR DT_REG_ADDR(DT_NODELABEL(espi_taf0))
#else
#define SAF_BASE_ADDR DT_REG_ADDR(DT_NODELABEL(espi_saf0))
#endif

/* SAF Test Configuration */
#define SAF_TEST_FREQ_HZ  24000000U
#define SAF_TEST_BUF_SIZE 4096U

/* SPI address of 4KB sector modified by test */
#define SAF_SPI_TEST_ADDRESS 0x1000U

/* SPI Command Definitions */
#define SPI_WRITE_STATUS1   0x01U
#define SPI_WRITE_STATUS2   0x31U
#define SPI_WRITE_DISABLE   0x04U
#define SPI_READ_STATUS1    0x05U
#define SPI_WRITE_ENABLE    0x06U
#define SPI_READ_STATUS2    0x35U
#define SPI_WRITE_ENABLE_VS 0x50U
#define SPI_READ_JEDEC_ID   0x9FU

/* SPI Status Register Bits */
#define SPI_STATUS1_BUSY 0x80U
#define SPI_STATUS2_QE   0x02U

/* W25Q128 3.3V part JEDEC ID */
#define W25Q128_JEDEC_ID 0x001840efU
/* W25Q128 1.8V part JEDEC ID */
#define W25Q128_FW_JEDEC_ID 0x001860efU
#define W25Q256_JEDEC_ID 0x001940efU
#define GD25LR256_JEDEC_ID 0x001967c8U
#define GD25LR512_JEDEC_ID 0x001a60c8U

/* SAF Erase Sizes */
enum saf_erase_size {
	SAF_ERASE_4K = 0,
	SAF_ERASE_32K = 1,
	SAF_ERASE_64K = 2,
	SAF_ERASE_MAX
};

/* SAF Address Info Structure */
struct saf_addr_info {
	uintptr_t saf_struct_addr;
	uintptr_t saf_exp_addr;
};

/**
 * @brief Initialize the SPI flash for SAF operations
 *
 * Initializes the local attached SPI flash by:
 * 1. Getting SPI driver binding
 * 2. Reading JEDEC ID and verifying it's a W25Q128
 * 3. Reading STATUS2 and checking QE bit
 * 4. If QE bit is not set, enabling volatile QE bit
 *
 * @return 0 on success, negative errno on failure
 */
int spi_saf_init(void);

/**
 * @brief Initialize eSPI SAF (Slave Attached Flash)
 *
 * Configures the eSPI SAF controller with flash device parameters
 * and protection regions.
 *
 * @return 0 on success, negative errno on failure
 */
int espi_saf_init(void);

/**
 * @brief Run eSPI SAF test sequence
 *
 * Tests SAF operations including:
 * - Activation
 * - Erase operations
 * - Read operations
 * - Page program operations
 * - Data verification
 *
 * @param spi_addr SPI flash address to test (should be 4KB aligned)
 * @return 0 on success, negative errno on failure
 */
int espi_saf_test1(uint32_t spi_addr);

#endif /* __ESPI_TAF_SAMPLE_H__ */
```
